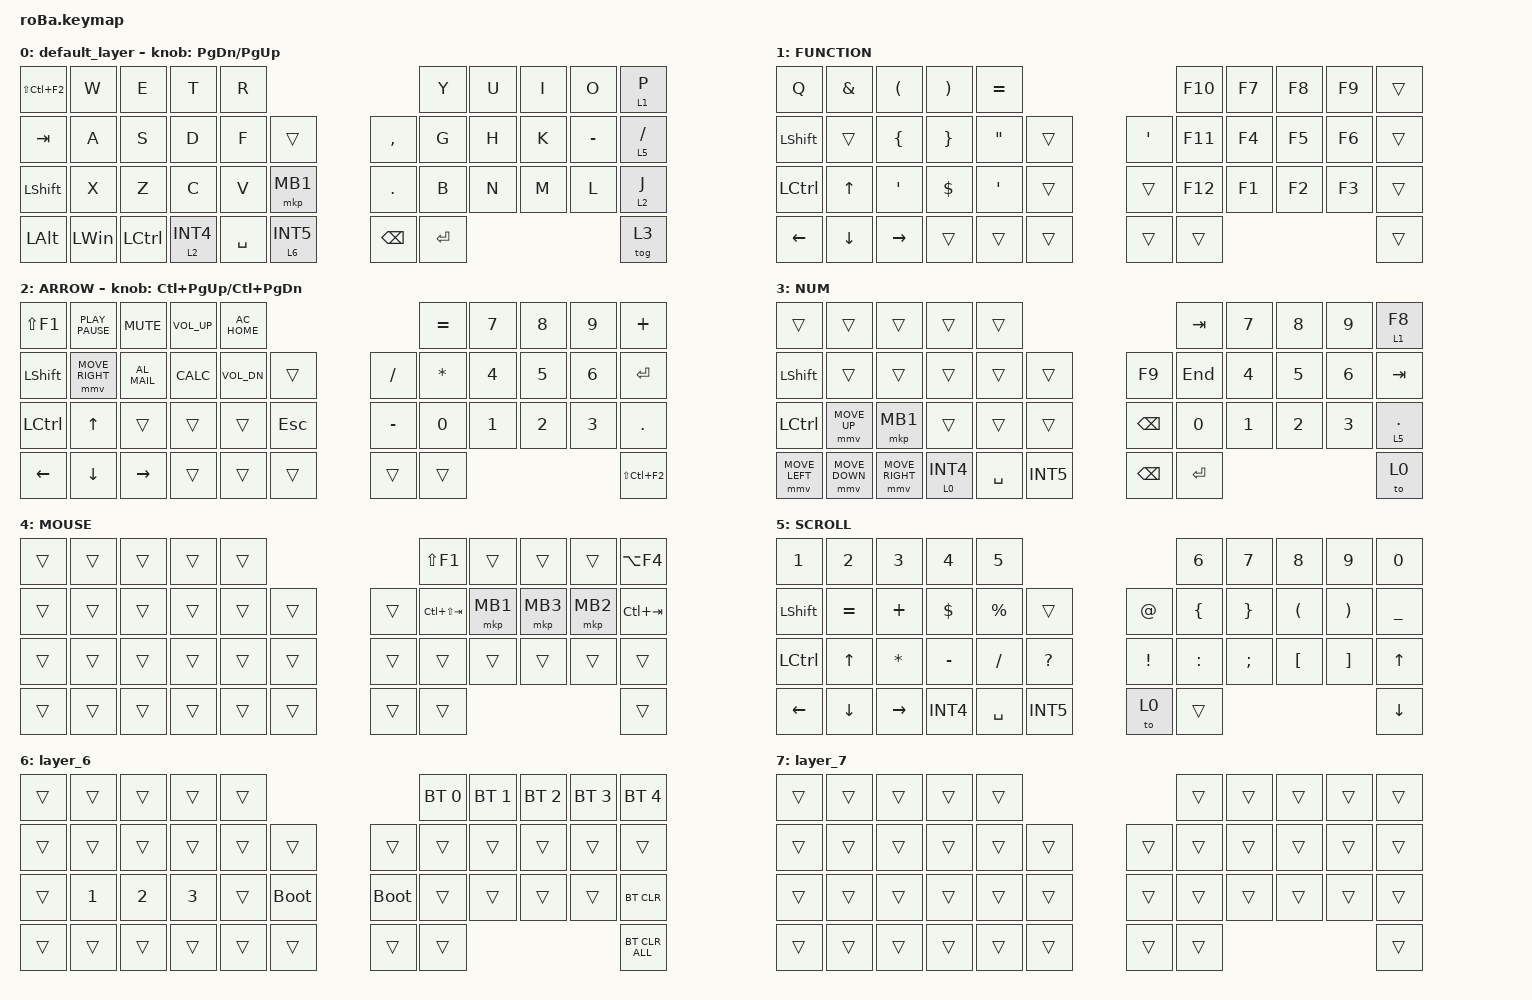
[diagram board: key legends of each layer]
#include <behaviors.dtsi>
#include <dt-bindings/zmk/bt.h>
#include <dt-bindings/zmk/keys.h>
#include <dt-bindings/zmk/pointing.h>

&mt {
    flavor = "balanced";
    quick-tap-ms = <0>;
};

&trackball {
    automouse-layer = <4>;
    scroll-layers = <5>;

    // arrows {
    //     layers = <3>;
    //     bindings =
    //         <&kp RIGHT_ARROW>,
    //         <&kp LEFT_ARROW>,
    //         <&kp UP_ARROW>,
    //         <&kp DOWN_ARROW>;
    //     tick = <10>;
    //     wait-ms = <5>;
    //     tap-ms = <5>;
    // };
};

/ {
    combos {
        compatible = "zmk,combos";

        tab {
            bindings = <&kp TAB>;
            key-positions = <0 1>;
        };

        muhennkann {
            bindings = <&to_layer_0 INT_MUHENKAN>;
            key-positions = <37 36>;
        };

        double_quotation {
            bindings = <&kp DOUBLE_QUOTES>;
            key-positions = <20 21>;
        };

        eq {
            bindings = <&kp EQUAL>;
            key-positions = <24 25>;
        };

        mizuki_original {
            bindings = <&kp LG(D)>;
            key-positions = <31 32>;
        };

        mizuki_original2 {
            bindings = <&kp PAGE_UP>;
            key-positions = <7 8 6>;
        };

        mizuki_original3 {
            bindings = <&kp PAGE_DOWN>;
            key-positions = <19 20 18>;
        };

        mizuki_original4 {
            bindings = <&kp LA(F4)>;
            key-positions = <8 9 7>;
        };

        mizuki_original5 {
            bindings = <&kp TAB>;
            key-positions = <5 6>;
        };

        mizuki_original7 {
            bindings = <&kp LS(F2)>;
            key-positions = <10 11>;
        };
    };

    macros {
        to_layer_0: to_layer_0 {
            compatible = "zmk,behavior-macro-one-param";
            #binding-cells = <1>;
            bindings = <&to 0 &macro_param_1to1 &kp MACRO_PLACEHOLDER>;
            label = "TO_LAYER_0";
        };
    };

    behaviors {
        lt_to_layer_0: lt_to_layer_0 {
            compatible = "zmk,behavior-hold-tap";
            label = "LAYER_TAP_TO_0";
            bindings = <&mo>, <&to_layer_0>;

            #binding-cells = <2>;
            tapping-term-ms = <200>;
        };
    };

    keymap {
        compatible = "zmk,keymap";

        default_layer {
            bindings = <
&kp LS(LC(F2))  &kp W         &kp E      &kp T                  &kp R                                                &kp Y      &kp U  &kp I  &kp O      &lt 1 P
&kp TAB         &kp A         &kp S      &kp D                  &kp F      &trans                     &kp COMMA      &kp G      &kp H  &kp K  &kp MINUS  &lt 5 SLASH
&kp LEFT_SHIFT  &kp X         &kp Z      &kp C                  &kp V      &mkp MB1                   &kp PERIOD     &kp B      &kp N  &kp M  &kp L      &lt 2 J
&kp LEFT_ALT    &kp LEFT_WIN  &kp LCTRL  &lt_to_layer_0 2 INT4  &kp SPACE  &lt_to_layer_0 6 INT5      &kp BACKSPACE  &kp ENTER                           &tog 3
            >;

            sensor-bindings = <&inc_dec_kp PG_DN PG_UP>;
        };

        FUNCTION {
            bindings = <
&kp Q       &kp AMPS  &kp LPAR   &kp RPAR  &kp EQUAL                       &kp F10  &kp F7  &kp F8  &kp F9  &trans
&kp LSHIFT  &trans    &kp LBRC   &kp RBRC  &kp DQT    &trans      &kp SQT  &kp F11  &kp F4  &kp F5  &kp F6  &trans
&kp LCTRL   &kp UP    &kp SQT    &kp DLLR  &kp SQT    &trans      &trans   &kp F12  &kp F1  &kp F2  &kp F3  &trans
&kp LEFT    &kp DOWN  &kp RIGHT  &trans    &trans     &trans      &trans   &trans                           &trans
            >;
        };

        ARROW {
            bindings = <
&kp LS(F1)  &kp K_PLAY_PAUSE  &kp K_MUTE     &kp C_VOLUME_UP  &kp C_AC_HOME                          &kp EQUAL     &kp NUMBER_7  &kp NUMBER_8  &kp NUMBER_9  &kp PLUS
&kp LSHIFT  &mmv MOVE_RIGHT   &kp C_AL_MAIL  &kp K_CALC       &kp C_VOL_DN   &trans       &kp SLASH  &kp ASTRK     &kp NUMBER_4  &kp NUMBER_5  &kp NUMBER_6  &kp ENTER
&kp LCTRL   &kp UP            &trans         &trans           &trans         &kp ESC      &kp MINUS  &kp NUMBER_0  &kp NUMBER_1  &kp NUMBER_2  &kp NUMBER_3  &kp DOT
&kp LEFT    &kp DOWN          &kp RIGHT      &trans           &trans         &trans       &trans     &trans                                                  &kp LS(LC(F2))
            >;

            sensor-bindings = <&inc_dec_kp LC(PAGE_UP) LC(PAGE_DOWN)>;
        };

        NUM {
            bindings = <
&trans          &trans          &trans           &trans      &trans                                  &kp TAB       &kp NUMBER_7  &kp NUMBER_8  &kp NUMBER_9  &lt 1 F8
&kp LSHIFT      &trans          &trans           &trans      &trans     &trans        &kp F9         &kp END       &kp NUMBER_4  &kp NUMBER_5  &kp NUMBER_6  &kp TAB
&kp LCTRL       &mmv MOVE_UP    &mkp MB1         &trans      &trans     &trans        &kp BACKSPACE  &kp NUMBER_0  &kp NUMBER_1  &kp NUMBER_2  &kp NUMBER_3  &lt 5 DOT
&mmv MOVE_LEFT  &mmv MOVE_DOWN  &mmv MOVE_RIGHT  &lt 0 INT4  &kp SPACE  &kp INT5      &kp BACKSPACE  &kp ENTER                                               &to 0
            >;
        };

        MOUSE {
            bindings = <
&trans  &trans  &trans  &trans  &trans                      &kp LS(F1)       &trans    &trans    &trans    &kp LA(F4)
&trans  &trans  &trans  &trans  &trans  &trans      &trans  &kp LC(LS(TAB))  &mkp MB1  &mkp MB3  &mkp MB2  &kp LC(TAB)
&trans  &trans  &trans  &trans  &trans  &trans      &trans  &trans           &trans    &trans    &trans    &trans
&trans  &trans  &trans  &trans  &trans  &trans      &trans  &trans                                         &trans
            >;
        };

        SCROLL {
            bindings = <
&kp NUMBER_1  &kp NUMBER_2  &kp NUMBER_3  &kp NUMBER_4  &kp NUMBER_5                           &kp NUMBER_6  &kp NUMBER_7  &kp NUMBER_8  &kp NUMBER_9       &kp NUMBER_0
&kp LSHIFT    &kp EQUAL     &kp PLUS      &kp DLLR      &kp PRCNT     &trans         &kp AT    &kp LBRC      &kp RBRC      &kp LPAR      &kp RPAR           &kp UNDERSCORE
&kp LCTRL     &kp UP        &kp ASTRK     &kp MINUS     &kp SLASH     &kp QMARK      &kp EXCL  &kp COLON     &kp SEMI      &kp LBKT      &kp RIGHT_BRACKET  &kp UP
&kp LEFT      &kp DOWN      &kp RIGHT     &kp INT4      &kp SPACE     &kp INT5       &to 0     &trans                                                       &kp DOWN
            >;
        };

        layer_6 {
            bindings = <
&trans  &trans        &trans        &trans        &trans                                &bt BT_SEL 0  &bt BT_SEL 1  &bt BT_SEL 2  &bt BT_SEL 3  &bt BT_SEL 4
&trans  &trans        &trans        &trans        &trans  &trans           &trans       &trans        &trans        &trans        &trans        &trans
&trans  &kp NUMBER_1  &kp NUMBER_2  &kp NUMBER_3  &trans  &bootloader      &bootloader  &trans        &trans        &trans        &trans        &bt BT_CLR
&trans  &trans        &trans        &trans        &trans  &trans           &trans       &trans                                                  &bt BT_CLR_ALL
            >;
        };

        layer_7 {
            bindings = <
&trans  &trans  &trans  &trans  &trans                      &trans  &trans  &trans  &trans  &trans
&trans  &trans  &trans  &trans  &trans  &trans      &trans  &trans  &trans  &trans  &trans  &trans
&trans  &trans  &trans  &trans  &trans  &trans      &trans  &trans  &trans  &trans  &trans  &trans
&trans  &trans  &trans  &trans  &trans  &trans      &trans  &trans                          &trans
            >;
        };
    };
};
